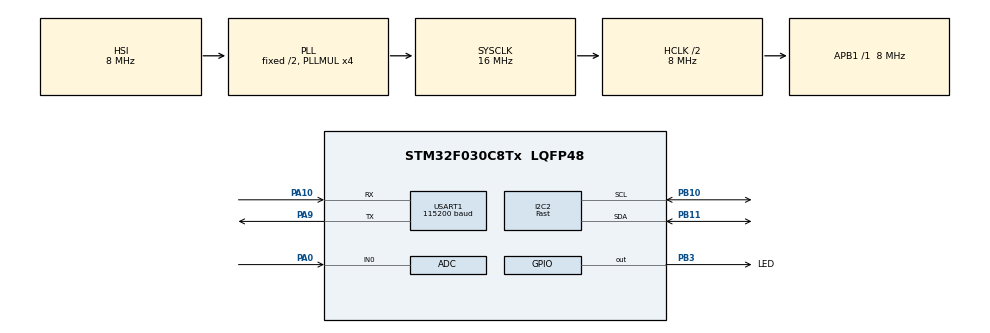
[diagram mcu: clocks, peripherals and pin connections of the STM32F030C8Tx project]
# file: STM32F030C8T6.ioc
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I2C2.I2C_Speed_Mode=I2C_Fast
I2C2.Timing=0x0000020B
Mcu.Family=STM32F0
Mcu.Name=STM32F030C8Tx
Mcu.Package=LQFP48
PA0.Mode=IN0
PA0.Signal=ADC_IN0
PA10.Mode=Asynchronous
PA10.Signal=USART1_RX
PA13.Mode=Serial_Wire
PA13.Signal=SYS_SWDIO
PA14.Mode=Serial_Wire
PA14.Signal=SYS_SWCLK
PA9.Mode=Asynchronous
PA9.Signal=USART1_TX
PB10.Mode=I2C
PB10.Signal=I2C2_SCL
PB11.Mode=I2C
PB11.Signal=I2C2_SDA
PB3.GPIO_Label=LED
PB3.Signal=GPIO_Output
ProjectManager.HeapSize=0x200
ProjectManager.StackSize=0x400
ProjectManager.TargetToolchain=STM32CubeIDE
RCC.AHBCLKDivider=RCC_SYSCLK_DIV2
RCC.AHBFreq_Value=8000000
RCC.APB1Freq_Value=8000000
RCC.APB1TimFreq_Value=8000000
RCC.HCLKFreq_Value=8000000
RCC.PLLMUL=RCC_PLL_MUL4
RCC.SYSCLKFreq_VALUE=16000000
RCC.SYSCLKSource=RCC_SYSCLKSOURCE_PLLCLK
USART1.BaudRate=115200
USART1.VirtualMode-Asynchronous=VM_ASYNC
board=custom

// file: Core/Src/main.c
/* USER CODE BEGIN Header */
/**
  ******************************************************************************
  * @file           : main.c
  * @brief          : Main program body
  ******************************************************************************
  * @attention
  *
  * Copyright (c) 2022 STMicroelectronics.
  * All rights reserved.
  *
  * This software is licensed under terms that can be found in the LICENSE file
  * in the root directory of this software component.
  * If no LICENSE file comes with this software, it is provided AS-IS.
  *
  ******************************************************************************
  */
/* USER CODE END Header */
#include "main.h"

/* USER CODE BEGIN Includes */

#include "i2c_eeprom_driver.h"

/* USER CODE END Includes */

/* USER CODE BEGIN PD */

#define UART1 &huart1
#define EEPROM_I2C &hi2c2
#define EEPROM_ADDR1 (0x50 << 1) // EEPROM address 1010 0000
#define EEPROM_ADDR2 (0x51 << 1) // EEPROM address 1010 0010
#define PAGE_SIZE 64 // bytes
#define PAGE_NUM  512 // number of pages

/* USER CODE END PD */

ADC_HandleTypeDef hadc;

I2C_HandleTypeDef hi2c2;

UART_HandleTypeDef huart1;

void SystemClock_Config(void);
static void MX_GPIO_Init(void);
static void MX_ADC_Init(void);
static void MX_USART1_UART_Init(void);
static void MX_I2C2_Init(void);

/* USER CODE BEGIN 0 */

argStruct args;

/* USER CODE END 0 */

int main(void)
{

  /* MCU Configuration--------------------------------------------------------*/

  /* Reset of all peripherals, Initializes the Flash interface and the Systick. */
  HAL_Init();

  /* Configure the system clock */
  SystemClock_Config();

  /* Initialize all configured peripherals */
  MX_GPIO_Init();
  MX_ADC_Init();
  MX_USART1_UART_Init();
  MX_I2C2_Init();
  /* USER CODE BEGIN 2 */

  /* Check EEPROM connection  */
  I2C_EEPROM_Init(EEPROM_I2C, EEPROM_ADDR1);
  I2C_EEPROM_Init(EEPROM_I2C, EEPROM_ADDR2);

  char message[] = "\n\nEEPROMs are ready\n\r";
  HAL_UART_Transmit(UART1, (uint8_t *)message, sizeof(message), 10);

  /* USER CODE END 2 */

  /* Infinite loop */
  /* USER CODE BEGIN WHILE */
  while (1)
  {
	  char buffer[200] = { 0 };

	  char message[] = "\nInput command: ";
	  HAL_UART_Transmit(UART1, (uint8_t *)message, sizeof(message), 10);

	  /* Receive unknown length data via UART */
	  I2C_EEPROM_UartReceive(UART1, buffer, 200);

	  HAL_UART_Transmit(UART1, (uint8_t *)buffer, strlen(buffer), 10);
	  HAL_UART_Transmit(UART1, (uint8_t *)"\n\r", 2, 10);

	  char errorMessage[] = "Incorrect format\n\r";

	  char dataString[140] = { 0 };
	  if (I2C_EEPROM_CommandParse(UART1, &args, buffer, dataString) != HAL_OK) // parse UART buffer
	  {
		  HAL_UART_Transmit(UART1, (uint8_t *)errorMessage, strlen(errorMessage), 10);
	  }
	  else
	  {
		  if (args.data == NULL)
		  {
			  char dataIsEmpty[] = "No data";
			  args.data = dataIsEmpty;
		  }
		  //		  char tpm[200] = { 0 };
//		  sprintf(tpm, "\neepromAddr = 0x%x\n\rmode = %c\n\raddrFlag = %d\n\raddr = 0x%x\n\rpage = %d\n\rdata = %s\n\r\n\r",
//				  (int)args.eepromAddr, args.mode, args.addrFlag, (int)args.addr, (int)args.page, args.data);
//		  HAL_UART_Transmit(UART1, (uint8_t *)tpm, strlen(tpm), 10);

		  HAL_GPIO_WritePin(LED_GPIO_Port, LED_Pin, GPIO_PIN_SET);
		  if (args.mode == 'r')
		  {
			  if (args.addrFlag == 0)
			  {
				  I2C_EEPROM_AddressRead(UART1, EEPROM_I2C, args.eepromAddr, args.addr);
			  }
			  else if (args.addrFlag == 1)
			  {
				  I2C_EPPROM_PageRead(UART1, EEPROM_I2C, args.eepromAddr, args.page);
			  }
		  }
		  else if (args.mode == 'w')
		  {
			  uint8_t targetData[80] = { 0 };
//			  strcpy(dataString, args.data);
			  uint16_t dataSize = I2C_EEPROM_StringToHex(args.data, targetData);
			  if (args.addrFlag == 0)
			  {
				  I2C_EEPROM_AddressWrite(EEPROM_I2C, args.eepromAddr, args.addr, targetData, dataSize);
				  I2C_EPPROM_PageRead(UART1, EEPROM_I2C, args.eepromAddr, args.page);
			  }
			  else if (args.addrFlag == 1)
			  {
				  I2C_EEPROM_PageWrite(EEPROM_I2C, args.eepromAddr, args.page, targetData, dataSize);
				  I2C_EPPROM_PageRead(UART1, EEPROM_I2C, args.eepromAddr, args.page);
			  }
		  }
		  HAL_GPIO_WritePin(LED_GPIO_Port, LED_Pin, GPIO_PIN_RESET);
	  }

    /* USER CODE END WHILE */

  }
}

void SystemClock_Config(void)
{
  RCC_OscInitTypeDef RCC_OscInitStruct = {0};
  RCC_ClkInitTypeDef RCC_ClkInitStruct = {0};
  RCC_PeriphCLKInitTypeDef PeriphClkInit = {0};

  /** Initializes the RCC Oscillators according to the specified parameters
  * in the RCC_OscInitTypeDef structure.
  */
  RCC_OscInitStruct.OscillatorType = RCC_OSCILLATORTYPE_HSI|RCC_OSCILLATORTYPE_HSI14;
  RCC_OscInitStruct.HSIState = RCC_HSI_ON;
  RCC_OscInitStruct.HSI14State = RCC_HSI14_ON;
  RCC_OscInitStruct.HSICalibrationValue = RCC_HSICALIBRATION_DEFAULT;
  RCC_OscInitStruct.HSI14CalibrationValue = 16;
  RCC_OscInitStruct.PLL.PLLState = RCC_PLL_ON;
  RCC_OscInitStruct.PLL.PLLSource = RCC_PLLSOURCE_HSI;
  RCC_OscInitStruct.PLL.PLLMUL = RCC_PLL_MUL4;
  RCC_OscInitStruct.PLL.PREDIV = RCC_PREDIV_DIV1;
  if (HAL_RCC_OscConfig(&RCC_OscInitStruct) != HAL_OK)
  {
    Error_Handler();
  }
  /** Initializes the CPU, AHB and APB buses clocks
  */
  RCC_ClkInitStruct.ClockType = RCC_CLOCKTYPE_HCLK|RCC_CLOCKTYPE_SYSCLK
                              |RCC_CLOCKTYPE_PCLK1;
  RCC_ClkInitStruct.SYSCLKSource = RCC_SYSCLKSOURCE_PLLCLK;
  RCC_ClkInitStruct.AHBCLKDivider = RCC_SYSCLK_DIV2;
  RCC_ClkInitStruct.APB1CLKDivider = RCC_HCLK_DIV1;

  if (HAL_RCC_ClockConfig(&RCC_ClkInitStruct, FLASH_LATENCY_0) != HAL_OK)
  {
    Error_Handler();
  }
  PeriphClkInit.PeriphClockSelection = RCC_PERIPHCLK_USART1;
  PeriphClkInit.Usart1ClockSelection = RCC_USART1CLKSOURCE_PCLK1;
  if (HAL_RCCEx_PeriphCLKConfig(&PeriphClkInit) != HAL_OK)
  {
    Error_Handler();
  }
}

static void MX_ADC_Init(void)
{

  ADC_ChannelConfTypeDef sConfig = {0};

  /** Configure the global features of the ADC (Clock, Resolution, Data Alignment and number of conversion)
  */
  hadc.Instance = ADC1;
  hadc.Init.ClockPrescaler = ADC_CLOCK_ASYNC_DIV1;
  hadc.Init.Resolution = ADC_RESOLUTION_12B;
  hadc.Init.DataAlign = ADC_DATAALIGN_RIGHT;
  hadc.Init.ScanConvMode = ADC_SCAN_DIRECTION_FORWARD;
  hadc.Init.EOCSelection = ADC_EOC_SINGLE_CONV;
  hadc.Init.LowPowerAutoWait = DISABLE;
  hadc.Init.LowPowerAutoPowerOff = DISABLE;
  hadc.Init.ContinuousConvMode = DISABLE;
  hadc.Init.DiscontinuousConvMode = DISABLE;
  hadc.Init.ExternalTrigConv = ADC_SOFTWARE_START;
  hadc.Init.ExternalTrigConvEdge = ADC_EXTERNALTRIGCONVEDGE_NONE;
  hadc.Init.DMAContinuousRequests = DISABLE;
  hadc.Init.Overrun = ADC_OVR_DATA_PRESERVED;
  if (HAL_ADC_Init(&hadc) != HAL_OK)
  {
    Error_Handler();
  }
  /** Configure for the selected ADC regular channel to be converted.
  */
  sConfig.Channel = ADC_CHANNEL_0;
  sConfig.Rank = ADC_RANK_CHANNEL_NUMBER;
  sConfig.SamplingTime = ADC_SAMPLETIME_1CYCLE_5;
  if (HAL_ADC_ConfigChannel(&hadc, &sConfig) != HAL_OK)
  {
    Error_Handler();
  }

}

static void MX_I2C2_Init(void)
{

  hi2c2.Instance = I2C2;
  hi2c2.Init.Timing = 0x0000020B;
  hi2c2.Init.OwnAddress1 = 0;
  hi2c2.Init.AddressingMode = I2C_ADDRESSINGMODE_7BIT;
  hi2c2.Init.DualAddressMode = I2C_DUALADDRESS_DISABLE;
  hi2c2.Init.OwnAddress2 = 0;
  hi2c2.Init.OwnAddress2Masks = I2C_OA2_NOMASK;
  hi2c2.Init.GeneralCallMode = I2C_GENERALCALL_DISABLE;
  hi2c2.Init.NoStretchMode = I2C_NOSTRETCH_DISABLE;
  if (HAL_I2C_Init(&hi2c2) != HAL_OK)
  {
    Error_Handler();
  }
  /** Configure Analogue filter
  */
  if (HAL_I2CEx_ConfigAnalogFilter(&hi2c2, I2C_ANALOGFILTER_ENABLE) != HAL_OK)
  {
    Error_Handler();
  }
  /** Configure Digital filter
  */
  if (HAL_I2CEx_ConfigDigitalFilter(&hi2c2, 0) != HAL_OK)
  {
    Error_Handler();
  }

}

static void MX_USART1_UART_Init(void)
{

  huart1.Instance = USART1;
  huart1.Init.BaudRate = 115200;
  huart1.Init.WordLength = UART_WORDLENGTH_8B;
  huart1.Init.StopBits = UART_STOPBITS_1;
  huart1.Init.Parity = UART_PARITY_NONE;
  huart1.Init.Mode = UART_MODE_TX_RX;
  huart1.Init.HwFlowCtl = UART_HWCONTROL_NONE;
  huart1.Init.OverSampling = UART_OVERSAMPLING_16;
  huart1.Init.OneBitSampling = UART_ONE_BIT_SAMPLE_DISABLE;
  huart1.AdvancedInit.AdvFeatureInit = UART_ADVFEATURE_NO_INIT;
  if (HAL_UART_Init(&huart1) != HAL_OK)
  {
    Error_Handler();
  }

}

static void MX_GPIO_Init(void)
{
  GPIO_InitTypeDef GPIO_InitStruct = {0};

  /* GPIO Ports Clock Enable */
  __HAL_RCC_GPIOA_CLK_ENABLE();
  __HAL_RCC_GPIOB_CLK_ENABLE();

  /*Configure GPIO pin Output Level */
  HAL_GPIO_WritePin(LED_GPIO_Port, LED_Pin, GPIO_PIN_RESET);

  /*Configure GPIO pin : LED_Pin */
  GPIO_InitStruct.Pin = LED_Pin;
  GPIO_InitStruct.Mode = GPIO_MODE_OUTPUT_PP;
  GPIO_InitStruct.Pull = GPIO_NOPULL;
  GPIO_InitStruct.Speed = GPIO_SPEED_FREQ_LOW;
  HAL_GPIO_Init(LED_GPIO_Port, &GPIO_InitStruct);

}

void Error_Handler(void)
{
  __disable_irq();
  while (1)
  {
  }
}
